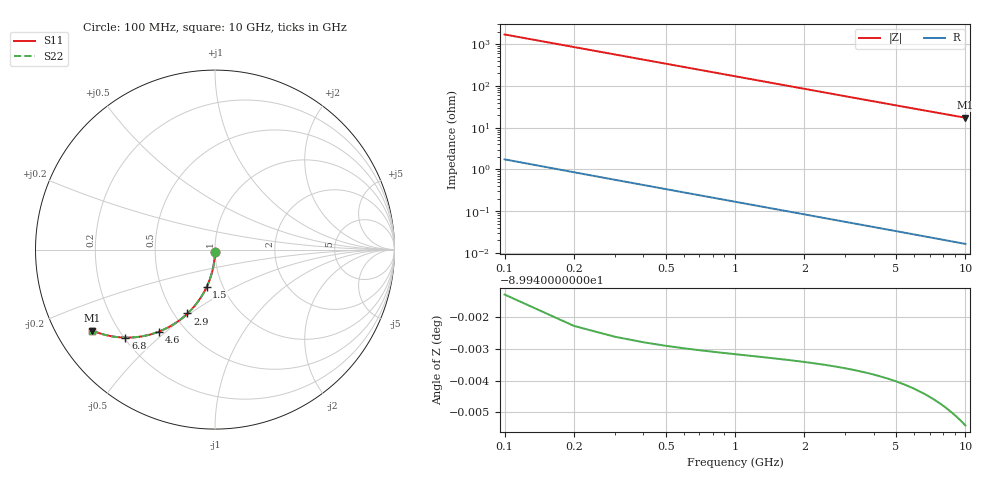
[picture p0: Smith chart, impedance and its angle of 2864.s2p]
# Hz S RI R 50.00
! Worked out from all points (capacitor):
!   100 points, 100 MHz to 10 GHz, reference 50 ohm
!   read as one part in shunt: C = 933 fF near 100 MHz
!   lowest |Z| = 17.4 ohm at 10 GHz (marker M1)
!   S11 on the Smith chart (normalised r, x): 100 MHz: 1.00, -0.03; 1.5 GHz: 0.84, -0.37; 2.9 GHz: 0.58, -0.49; 4.6 GHz: 0.36, -0.47; 6.8 GHz: 0.21, -0.39; 10 GHz: 0.11, -0.30
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1e8  -0.000205 -0.0145  0.9997 -0.0148  0.9997 -0.0148  -0.000205 -0.0145
2e8  -0.000864 -0.029  0.9991 -0.0296  0.9991 -0.0296  -0.000864 -0.029
3e8  -0.00195 -0.0435  0.998 -0.0443  0.998 -0.0443  -0.00195 -0.0435
4e8  -0.00346 -0.0579  0.9965 -0.059  0.9965 -0.059  -0.00346 -0.0579
5e8  -0.00539 -0.0723  0.9946 -0.0736  0.9946 -0.0736  -0.00539 -0.0723
6e8  -0.00774 -0.0865  0.9922 -0.0881  0.9922 -0.0881  -0.00774 -0.0865
7e8  -0.0105 -0.1006  0.9895 -0.1025  0.9895 -0.1025  -0.0105 -0.1006
9e8  -0.0172 -0.1285  0.9827 -0.1308  0.9827 -0.1308  -0.0172 -0.1285
1.2e9  -0.0302 -0.169  0.9698 -0.1722  0.9698 -0.1722  -0.0302 -0.169
1.5e9  -0.0463 -0.2077  0.9536 -0.2117  0.9536 -0.2117  -0.0463 -0.2077
1.8e9  -0.0653 -0.2442  0.9346 -0.249  0.9346 -0.249  -0.0653 -0.2442
2.3e9  -0.1023 -0.2996  0.8976 -0.3056  0.8976 -0.3056  -0.1023 -0.2996
2.9e9  -0.1533 -0.356  0.8466 -0.3637  0.8466 -0.3637  -0.1533 -0.356
3.4e9  -0.1993 -0.3945  0.8007 -0.4035  0.8007 -0.4035  -0.1993 -0.3945
4e9  -0.2561 -0.4307  0.7438 -0.4413  0.7438 -0.4413  -0.2561 -0.4307
4.6e9  -0.3129 -0.4571  0.687 -0.4693  0.687 -0.4693  -0.3129 -0.4571
5.1e9  -0.3588 -0.4724  0.641 -0.486  0.641 -0.486  -0.3588 -0.4724
5.9e9  -0.4282 -0.4864  0.5716 -0.5023  0.5716 -0.5023  -0.4282 -0.4864
6.7e9  -0.4914 -0.4904  0.5084 -0.5085  0.5084 -0.5085  -0.4914 -0.4904
6.8e9  -0.4988 -0.4903  0.501 -0.5087  0.501 -0.5087  -0.4988 -0.4903
8.4e9  -0.6031 -0.4773  0.3965 -0.5001  0.3965 -0.5001  -0.6031 -0.4773
1e10  -0.6832 -0.4509  0.3163 -0.4784  0.3163 -0.4784  -0.6832 -0.4509
